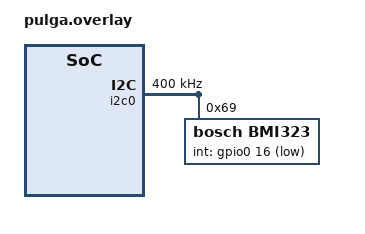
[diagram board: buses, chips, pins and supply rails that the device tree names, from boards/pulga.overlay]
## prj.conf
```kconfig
# Copyright (c) 2021 Nordic Semiconductor ASA
# SPDX-License-Identifier: Apache-2.0
#
# This file contains selected Kconfig options for the application.

# Activates the use of Zephyr's API for sensors
CONFIG_SENSOR=y
CONFIG_I2C=y
CONFIG_BMI323=y
CONFIG_BMI323_BUS_I2C=y
CONFIG_CBPRINTF_FP_SUPPORT=y

CONFIG_RTIO=y
CONFIG_SENSOR_ASYNC_API=y

CONFIG_SYSTEM_WORKQUEUE_STACK_SIZE=2048

CONFIG_BT=y
CONFIG_BT_GATT_CLIENT=y
CONFIG_BT_BROADCASTER=y
CONFIG_BT_OBSERVER=y
CONFIG_LOG=y

CONFIG_BT_ATT_PREPARE_COUNT=1
CONFIG_BT_BAS=y
CONFIG_BT_HRS=y
CONFIG_BT_IAS=y
CONFIG_BT_CTS=y
CONFIG_BT_CTS_HELPER_API=y
CONFIG_BT_PERIPHERAL=y
CONFIG_BT_DIS=y

CONFIG_BT_CTLR_TX_PWR_PLUS_8=y  # Max +8 dBm for nRF52832/nRF52840

CONFIG_BT_L2CAP_TX_MTU=251
CONFIG_BT_BUF_ACL_RX_SIZE=260
CONFIG_BT_BUF_ACL_TX_SIZE=260
CONFIG_BT_CTLR_DATA_LENGTH_MAX=251

CONFIG_BT_RX_STACK_SIZE=4096

# Defines name that will be used to advertise device
CONFIG_BT_DEVICE_NAME="Pulga Turbine"
# Appearance = Generic Industrial Measurement Device
CONFIG_BT_DEVICE_APPEARANCE=5248
```

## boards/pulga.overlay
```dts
/**
* This piece of code activates the sensors internal to the board,
* connected to the CPU by I2C0 
*/
&i2c0 {

	/*Visible light, Infrared and UV Sensor*/
	si1133@55 {
		compatible = "silabs,si1133";
		reg = <0x55>;
		status = "disabled";
	};

	/*Accelerometer and Gyroscope*/
	bmi323@69 {
		compatible = "bosch,bmi323";
		reg = <0x69>;
		int-gpios = <&gpio0 16 GPIO_ACTIVE_LOW>;
		status = "okay";
	};

	/*Umidity, Pressure and Temperature Sensor*/
	bme280@77 {
		compatible = "bosch,bme280";
		reg = <0x77>;
		status = "disabled";
	};

	clock-frequency = <I2C_BITRATE_FAST>;
};
```

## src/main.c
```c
#include <zephyr/logging/log.h>

#include <zephyr/drivers/sensor.h>

//#include <zephyr/types.h>
#include <zephyr/sys/util.h>
//#include <stddef.h>
//#include <string.h>
//#include <errno.h>

//#include <assert.h>
//#include <stdio.h>
//#include <stdlib.h>

//#include <zephyr/sys/printk.h>
#include <zephyr/rtio/rtio.h>
#include <zephyr/sys/byteorder.h>
#include <zephyr/sys/reboot.h>
//#include <zephyr/kernel.h>

#include <zephyr/bluetooth/bluetooth.h>
#include <zephyr/bluetooth/hci.h>
#include <zephyr/bluetooth/conn.h>
#include <zephyr/bluetooth/uuid.h>
#include <zephyr/bluetooth/gatt.h>
#include <zephyr/bluetooth/services/bas.h>

//#include <zephyr/drivers/sensor/bosch/bmi323/bmi323.h>
//#include <zephyr/drivers/sensor/bosch/bmi323/bmi323_i2c.h>
#include <../../../zephyr/drivers/sensor/bosch/bmi323/bmi323.h>
#include <../../../zephyr/drivers/sensor/bosch/bmi323/bmi323_i2c.h>


// change log level in debug.conf
LOG_MODULE_REGISTER(main, CONFIG_APP_LOG_LEVEL);

/* Variable declarations */
static const struct device *bmi323;

#define BMI323_NODE DT_COMPAT_GET_ANY_STATUS_OKAY(bosch_bmi323)

int8_t rslt;

typedef struct
{
    int16_t X_axis;
    int16_t Y_axis;
    int16_t Z_axis;
} bmi_readings;

#define MAX_READINGS 6400 //6400

bmi_readings readings_buffer[MAX_READINGS];
int write_index;

/* accel params and conversion constants */
// #define AC 2048.0F // for 16G
// #define AC 4096.0fF // for 8G
#define AC 8192.0F // for 4G
// #define AC 16384.0F // for 2G

static int init_bmi323()
{
    LOG_DBG("Initializing BMI323");
    bmi323 = DEVICE_DT_GET_ANY(bosch_bmi323);

    if (!bmi323)
    {
        LOG_ERR("bmi323 not declared at device tree");
        return -ENODEV;
    }
    else if (!device_is_ready(bmi323))
    {
        LOG_ERR("device \"%s\" is not ready", bmi323->name);
        return -EAGAIN;
    }

   k_msleep(100);

    bosch_bmi323_set_fifo_acc(bmi323, 160);
    k_msleep(100);

    return 0;
}

static int config_bmi323(void)
{
    int ret;
    struct sensor_value v;
    
    LOG_DBG("Config BMI323\n");
    k_msleep(50);

	v.val1 = 0;
	ret = sensor_attr_set(bmi323,
			      SENSOR_CHAN_ACCEL_XYZ,
			      SENSOR_ATTR_FEATURE_MASK,
			      &v);
	if (ret) {
        LOG_ERR("ACC disable (before config) failed: %d", ret);
        return ret;
    }

    v.val1 = 6400;
    v.val2 = 0;
    ret = sensor_attr_set(bmi323,
                          SENSOR_CHAN_ACCEL_XYZ,
                          SENSOR_ATTR_SAMPLING_FREQUENCY,
                          &v);
    if (ret) {
        LOG_ERR("ACC ODR failed: %d", ret);
        return ret;
    }

    v.val1 = 4;
    v.val2 = 0;
    ret = sensor_attr_set(bmi323,
                          SENSOR_CHAN_ACCEL_XYZ,
                          SENSOR_ATTR_FULL_SCALE,
                          &v);
    if (ret) {
        LOG_ERR("ACC range failed: %d", ret);
        return ret;
    }

    v.val1 = 1;
    v.val2 = 0;
    ret = sensor_attr_set(bmi323,
                          SENSOR_CHAN_ACCEL_XYZ,
                          SENSOR_ATTR_FEATURE_MASK,
                          &v);
    if (ret) {
        LOG_ERR("ACC enable failed: %d", ret);
        return ret;
    }

    bmi323_fifo_enable_acc(bmi323);

    k_msleep(50);

    uint16_t verify;
    //int ret2;

    ret = bmi323_read_reg(bmi323,
                        IMU_BOSCH_BMI323_REG_ACC_CONF,
                        &verify);

    if (!ret) {
        LOG_DBG("ACC_ODR_CONF = 0x%04X\n", verify);
    } else {
        LOG_ERR("Read error for bmi323 acc conf reg: %d\n", ret);
    }

    // startup delay, at least 2 ODR periods (6400 Hz -> 0.3125 ms) */
    k_msleep(10);

    return 0;
}

static uint8_t bt_connected, bt_advertising;
static uint8_t indicating, indicate_htm;
static struct bt_gatt_indicate_params ind_params;

#define READINGS_PER_INDICATE 40

uint16_t indicate_index;

uint32_t t1, t2, t3;

static void htmc_ccc_cfg_changed(const struct bt_gatt_attr *attr,
				 uint16_t value)
{
	indicate_htm = (value == BT_GATT_CCC_INDICATE) ? 1 : 0;
    LOG_DBG("ccc_indicate %s\n", indicate_htm == 0U ? "disabled" : "enabled");
}

static void indicate_cb(struct bt_conn *conn,
			struct bt_gatt_indicate_params *params, uint8_t err)
{
	if(err != 0U) LOG_ERR("Indication fail\n\r");
}

static void indicate_destroy(struct bt_gatt_indicate_params *params)
{
	//LOG_DBG("Indication complete\n");
	indicating = 0U;
    indicate_index++;
}

#define TURBINE_SVC_UUID                 BT_UUID_128_ENCODE(0x02b454b7, 0xc19f, 0x4d1c, 0xa2c0, 0xb7fc10f8a8a3)
#define TURBINE_CHR_IND_ACCEL_UUID      BT_UUID_128_ENCODE(0x682d75cf, 0x44fc, 0x4df4, 0xac81, 0x00f02aa9b98a)

static const struct bt_uuid_128 turb_svc = BT_UUID_INIT_128(TURBINE_SVC_UUID);
static const struct bt_uuid_128 turb_char_ind_accel_uuid = BT_UUID_INIT_128(TURBINE_CHR_IND_ACCEL_UUID);


/* BLE Service Declaration */
BT_GATT_SERVICE_DEFINE(hts_svc,
	BT_GATT_PRIMARY_SERVICE(&turb_svc),
	BT_GATT_CHARACTERISTIC(&turb_char_ind_accel_uuid.uuid, BT_GATT_CHRC_INDICATE,
			       BT_GATT_PERM_NONE, NULL, NULL, NULL),
    BT_GATT_CCC(htmc_ccc_cfg_changed,
		    BT_GATT_PERM_READ | BT_GATT_PERM_WRITE),
);

void hts_indicate(void)
{
    while(bt_connected && indicate_htm && indicate_index < MAX_READINGS/READINGS_PER_INDICATE){

        //LOG_DBG("Indication: %d\n", indicate_index);

        static uint8_t indicate_payload[1+6*READINGS_PER_INDICATE];

        indicate_payload[0] = indicate_index;
        
        memcpy(indicate_payload+1, &readings_buffer[indicate_index*READINGS_PER_INDICATE], 6*READINGS_PER_INDICATE ); // 2 bytes x 3 axis x readings

        ind_params.attr = &hts_svc.attrs[2];
        ind_params.func = indicate_cb;
        ind_params.destroy = indicate_destroy;
        ind_params.data = &indicate_payload;
        ind_params.len = sizeof(indicate_payload);

        if (bt_gatt_indicate(NULL, &ind_params) == 0) {
            indicating = 1U;
        }
        else LOG_ERR("Indication fail\n\r");

        while(indicating) {
            k_sleep(K_USEC(100));
        }
    }
    indicate_index = 0;
}

static void mtu_exchange_cb(struct bt_conn *conn, uint8_t err, struct bt_gatt_exchange_params *params)
{
	LOG_DBG("%s: MTU exchange %s (%u)\n", __func__, err == 0U ? "successful" : "failed", bt_gatt_get_mtu(conn));
}

static struct bt_gatt_exchange_params mtu_exchange_params = {
	.func = mtu_exchange_cb
};

static const struct bt_data ad[] = {
	BT_DATA_BYTES(BT_DATA_FLAGS, (BT_LE_AD_GENERAL | BT_LE_AD_NO_BREDR)),
	BT_DATA_BYTES(BT_DATA_UUID16_ALL,
		      BT_UUID_16_ENCODE(BT_UUID_HTS_VAL),
		      BT_UUID_16_ENCODE(BT_UUID_DIS_VAL)),
};

static const struct bt_data sd[] = {
	BT_DATA(BT_DATA_NAME_COMPLETE, CONFIG_BT_DEVICE_NAME, sizeof(CONFIG_BT_DEVICE_NAME) - 1),
};

static void connected(struct bt_conn *conn, uint8_t err)
{
	if (err) {
		LOG_ERR("Connection failed, err 0x%02x %s\n", err, bt_hci_err_to_str(err));
        bt_le_adv_stop();
	} else {
		LOG_DBG("Connected\n");

        bt_connected = 1;
        
        LOG_DBG("%s: Current MTU = %u\n", __func__, bt_gatt_get_mtu(conn));
        
        LOG_DBG("%s: Will try to exchange MTU...\n", __func__);
	    err = bt_gatt_exchange_mtu(conn, &mtu_exchange_params);
	    if (err) {
		    LOG_ERR("%s: MTU exchange failed (err %d)", __func__, err);
	    }
    }
    bt_advertising = 0;
}

static void disconnected(struct bt_conn *conn, uint8_t reason)
{
    bt_connected = 0;
	LOG_DBG("Disconnected, reason 0x%02x %s\n", reason, bt_hci_err_to_str(reason));
}

BT_CONN_CB_DEFINE(conn_callbacks) = {
	.connected = connected,
	.disconnected = disconnected,
};

static void bt_ready(void)
{
	int err;

	err = bt_le_adv_start(BT_LE_ADV_CONN_FAST_1, ad, ARRAY_SIZE(ad), sd, ARRAY_SIZE(sd));
	if (err) {
		LOG_ERR("Advertising failed to start (err %d)\n", err);
		return;
	}

    bt_advertising = 1;

	LOG_DBG("Advertising successfully started\n");
}

int8_t acquire_ACC_Values(void)
{
    uint16_t words_read;
    while(write_index < MAX_READINGS){
        
        words_read = 0;

        // Read FIFO via driver

        int ret = bosch_bmi323_fifo_read_acc(
                        bmi323,
                        (uint8_t *)&readings_buffer[write_index],
                        3*(MAX_READINGS-write_index),
                        &words_read);

        if (ret < 0) {
            LOG_ERR("Error reading FIFO\n");
            k_msleep(200);
            return ret;
        }

        if (words_read == 0) {
            LOG_DBG("FIFO empty\n");
            k_msleep(100);
            continue;
        }

        write_index += words_read/3;
    }
    return 0;
}

void direct_read(void)
{
    for (int i = 0; i < MAX_READINGS; i++)
    {
        LOG_DBG("%2.6f %2.6f %2.6f \n\r", (readings_buffer[i].X_axis / AC)
                                     , (readings_buffer[i].Y_axis / AC)
                                     , (readings_buffer[i].Z_axis / AC));
    }
}

int main(void)
{
    k_sleep(K_MSEC(1000));

    LOG_DBG("BMI323 FIFO TEST\n");

    rslt = init_bmi323();
    if (rslt) {
        LOG_ERR("Error init BMI160 - %d\n \r", rslt);
        goto out_error;
    }

    rslt = config_bmi323();
    if (rslt) {
        LOG_ERR("Error config BMI160 - %d\n \r", rslt);
        goto out_error;
    }

    rslt = bt_enable(NULL);

    if (rslt)
        {
            LOG_ERR("Bluetooth init failed (err %d)\n \r", rslt);
            goto out_error;
        }

    LOG_DBG("Bluetooth initialized\n");

    bt_ready();
    
    k_sleep(K_MSEC(500));

    LOG_DBG("Reading BMI160 \n \r");

    while (1)
    {
        write_index = 0;
        rslt = bosch_bmi323_fifo_flush(bmi323);
        if (rslt)
        {
            LOG_ERR("Error flushing BMI160 FIFO - %d\n \r", rslt);
            goto out_error;
        }
        //LOG_DBG("flush ok");
        t1 = k_uptime_get();
        rslt = acquire_ACC_Values();
        t2 = k_uptime_get();
        //direct_read();
        hts_indicate();
        t3 = k_uptime_get();

        LOG_DBG("time acq: %d \n\r", t2 - t1);
        LOG_DBG("sample rate acq: %d \n\r", MAX_READINGS*1000/(t2 - t1));
        LOG_DBG("time indicate: %d \n\r", t3 - t2);

        if(!bt_connected && !bt_advertising)
        {
            bt_ready(); //re-enable advertising after disconnect
        }
    }
out_error:
    while (1)
    {
    LOG_ERR("System error, will reset pulga \n \r");
    k_sleep(K_MSEC(5000));
    sys_reboot(1);
    }
}
```
